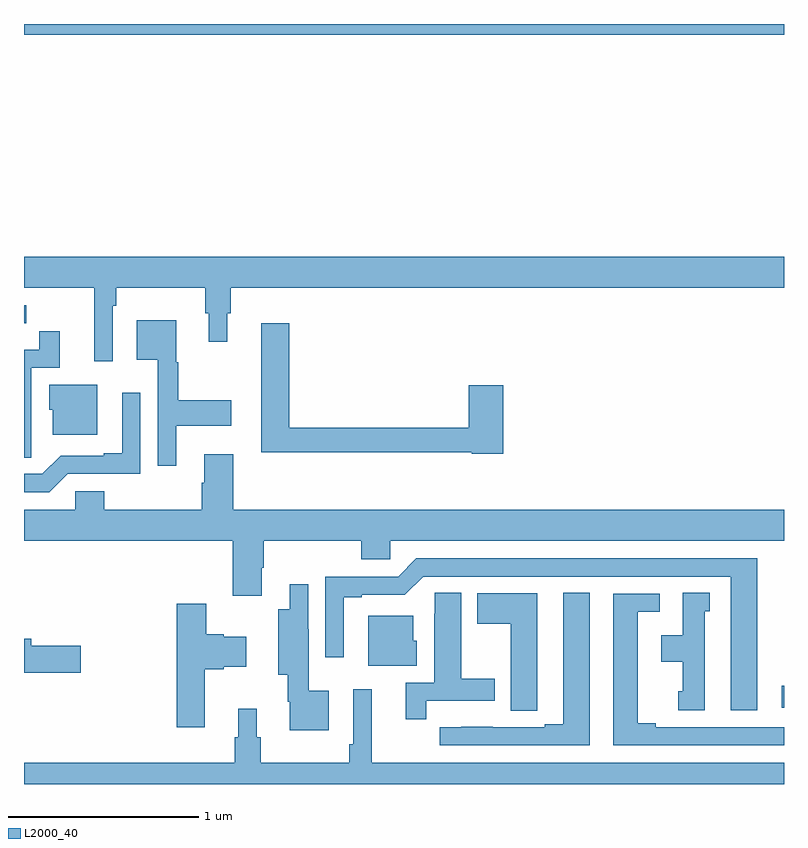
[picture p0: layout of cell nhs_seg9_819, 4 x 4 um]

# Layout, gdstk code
import gdstk
lib = gdstk.Library(unit=1e-6, precision=1e-09)
def R(c, l, rs):  # rectangles x0, y0, x1, y1
    for r in rs: c.add(gdstk.rectangle(r[:2], r[2:], *l))
def P(c, l, *ps):  # polygons
    for p in ps: c.add(gdstk.Polygon(p, *l))
L2000_40 = (2000, 40)

nhs_seg9_819 = lib.new_cell('nhs_seg9_819')
R(nhs_seg9_819, L2000_40, [(158.988,1168.902,159,1169.018), (155,1170.924,155.011,1171.02), (155,1172.444,159,1172.5)])
P(nhs_seg9_819, L2000_40, [(155.466,1171.016),(155.486,1171.016),(155.486,1171.112),(155.953,1171.112),(155.953,1170.978),(155.972,1170.978),(155.972,1170.828),(156.07,1170.828),(156.07,1170.978),(156.089,1170.978),(156.089,1171.112),(159,1171.112),(159,1171.276),(155,1171.276),(155,1171.112),(155.369,1171.112),(155.369,1170.726),(155.466,1170.726)],
  [(155.8,1170.386),(156.091,1170.386),(156.091,1170.521),(155.812,1170.521),(155.812,1170.72),(155.8,1170.72),(155.8,1170.94),(155.594,1170.94),(155.594,1170.734),(155.703,1170.734),(155.703,1170.174),(155.8,1170.174)],
  [(157.523,1170.598),(157.34,1170.598),(157.34,1170.374),(156.395,1170.374),(156.395,1170.925),(156.248,1170.925),(156.248,1170.246),(157.356,1170.246),(157.356,1170.238),(157.523,1170.238)],
  [(155.037,1170.328),(155.038,1170.328),(155.038,1170.69),(155.189,1170.69),(155.189,1170.883),(155.08,1170.883),(155.08,1170.786),(155,1170.786),(155,1170.217),(155.037,1170.217)],
  [(155.386,1170.601),(155.132,1170.601),(155.132,1170.471),(155.15,1170.471),(155.15,1170.338),(155.386,1170.338)],
  [(155.229,1170.132),(155.613,1170.132),(155.613,1170.559),(155.516,1170.559),(155.516,1170.241),(155.42,1170.241),(155.42,1170.228),(155.193,1170.228),(155.097,1170.132),(155,1170.132),(155,1170.036),(155.133,1170.036)],
  [(156.25,1169.638),(156.263,1169.638),(156.263,1169.78),(156.776,1169.78),(156.776,1169.682),(156.927,1169.682),(156.927,1169.78),(159,1169.78),(159,1169.944),(156.101,1169.944),(156.101,1170.235),(155.948,1170.235),(155.948,1170.086),(155.936,1170.086),(155.936,1169.944),(155.423,1169.944),(155.423,1170.042),(155.271,1170.042),(155.271,1169.944),(155,1169.944),(155,1169.78),(156.098,1169.78),(156.098,1169.49),(156.25,1169.49)],
  [(158.86,1169.688),(157.065,1169.688),(156.969,1169.592),(156.585,1169.592),(156.585,1169.166),(156.682,1169.166),(156.682,1169.484),(156.778,1169.484),(156.778,1169.496),(157.005,1169.496),(157.101,1169.592),(158.72,1169.592),(158.72,1168.887),(158.86,1168.887)],
  [(156.604,1168.99),(156.498,1168.99),(156.498,1169.315),(156.496,1169.315),(156.496,1169.551),(156.398,1169.551),(156.398,1169.419),(156.338,1169.419),(156.338,1169.075),(156.387,1169.075),(156.387,1168.934),(156.399,1168.934),(156.399,1168.784),(156.604,1168.784)],
  [(157.978,1169.507),(157.838,1169.507),(157.838,1168.815),(157.742,1168.815),(157.742,1168.8),(157.466,1168.8),(157.466,1168.801),(157.3,1168.801),(157.3,1168.8),(157.188,1168.8),(157.188,1168.704),(157.978,1168.704)],
  [(158.584,1169.409),(158.608,1169.409),(158.608,1169.507),(158.468,1169.507),(158.468,1169.284),(158.354,1169.284),(158.354,1169.144),(158.468,1169.144),(158.468,1168.989),(158.444,1168.989),(158.444,1168.887),(158.584,1168.887)],
  [(157.118,1168.938),(157.477,1168.938),(157.477,1169.055),(157.3,1169.055),(157.3,1169.507),(157.161,1169.507),(157.161,1169.396),(157.16,1169.396),(157.16,1169.034),(157.01,1169.034),(157.01,1168.842),(157.118,1168.842)],
  [(157.701,1168.993),(157.702,1168.993),(157.702,1169.503),(157.385,1169.503),(157.385,1169.344),(157.562,1169.344),(157.562,1168.885),(157.701,1168.885)],
  [(159,1168.8),(158.326,1168.8),(158.326,1168.82),(158.23,1168.82),(158.23,1169.406),(158.347,1169.406),(158.347,1169.502),(158.102,1169.502),(158.102,1168.704),(159,1168.704)],
  [(155.95,1169.105),(156.051,1169.105),(156.051,1169.117),(156.169,1169.117),(156.169,1169.275),(156.051,1169.275),(156.051,1169.288),(155.958,1169.288),(155.958,1169.449),(155.804,1169.449),(155.804,1168.8),(155.95,1168.8)],
  [(157.066,1169.253),(157.048,1169.253),(157.048,1169.386),(156.812,1169.386),(156.812,1169.123),(157.066,1169.123)],
  [(155.299,1169.228),(155.038,1169.228),(155.038,1169.264),(155,1169.264),(155,1169.086),(155.299,1169.086)],
  [(159,1168.612),(156.83,1168.612),(156.83,1168.999),(156.732,1168.999),(156.732,1168.708),(156.712,1168.708),(156.712,1168.612),(156.245,1168.612),(156.245,1168.746),(156.226,1168.746),(156.226,1168.897),(156.128,1168.897),(156.128,1168.746),(156.109,1168.746),(156.109,1168.612),(155,1168.612),(155,1168.5),(159,1168.5)])

lib.write_gds('nhs_seg9_819.gds')
